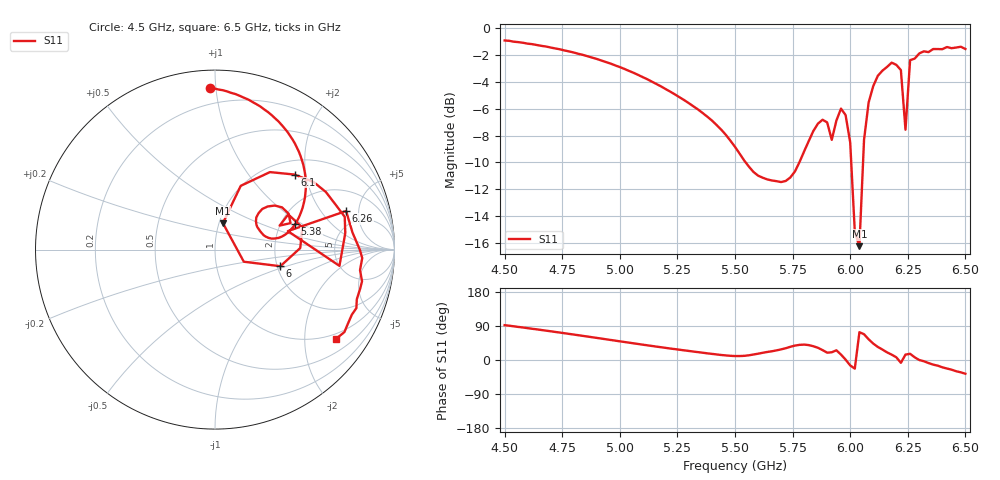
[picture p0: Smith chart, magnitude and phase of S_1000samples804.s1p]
! TOUCHSTONE file generated by CST MICROWAVE STUDIO
! Date and time: Sat Oct 29 10:59:19 2022
! Project name: L.cst
! Parameters = {Di=1.27; Epsilon_r=1.56; InnerDiameter=1.27; Length=2; Lf=10; Lg=60; OuterConductorThickness=0.2921; OuterDiameter=3.6; Wf=3; Wp=41.2; de=1.5; df=6.8; g=0.8; gx=2.74753; gy=4.79294; h=2.34; hf=1.524; px=14.4727; py=14.6635; w=9.7; wx=11.7252; wy=9.87061}
! Header version: 2018
! Port assignment regex: !\s*Touchstone port\s*([0-9]+)\s*=\s*(CST MWS port|CST DS port)\s*([0-9]+|Zmin|Zmax)\s*\(\"(.*)\"\)(\s*mode\s*([0-9]+))?.*
! Touchstone port assignment:
! Touchstone port 1 = CST MWS port 1 ("")
# GHz S DB R 50
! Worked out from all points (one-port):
!   101 points, 4.5 GHz to 6.5 GHz, reference 50 ohm
!   lowest |S11| = -16.3 dB at 6.04 GHz (marker M1), VSWR 1.36, Z = 52.2 + j15.8 ohm
!   |S11| at or under -10 dB: 5.546 GHz to 5.779 GHz (233.2 MHz wide, 4.12 % of centre); 6.004 GHz to 6.056 GHz (51.32 MHz wide, 0.851 % of centre)
!   S11 on the Smith chart (normalised r, x): 4.5 GHz: 0.10, +0.96; 5.38 GHz: 2.39, +0.87; 6 GHz: 2.08, -0.45; 6.1 GHz: 1.30, +1.72; 6.26 GHz: 3.53, +3.62; 6.5 GHz: 0.85, -2.83
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4.5  -0.89 91.9
4.76  -1.64 70.7
5  -2.88 49.3
5.26  -5.15 27.0
5.38  -6.59 17.6
5.5  -8.84 10.4
5.62  -11.14 19.0
5.76  -10.68 38.0
5.86  -7.11 32.2
5.9  -7.01 19.3
5.92  -8.32 20.4
5.94  -6.88 25.6
5.96  -5.99 14.3
5.98  -6.47 1.0
6  -8.51 -14.3
6.02  -15.18 -22.8
6.04  -16.26 73.4
6.06  -8.33 68.0
6.08  -5.53 54.7
6.1  -4.30 43.3
6.18  -2.55 14.2
6.2  -2.71 7.2
6.22  -3.11 -7.4
6.24  -7.56 14.2
6.26  -2.37 16.4
6.3  -1.86 -0.1
6.36  -1.54 -12.2
6.5  -1.53 -36.3
